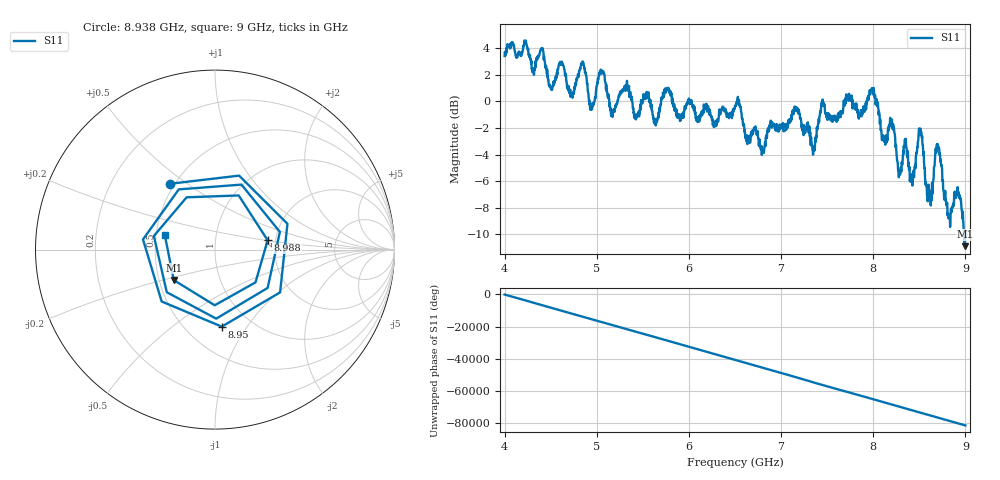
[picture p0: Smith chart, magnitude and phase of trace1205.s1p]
! Created with skrf 1.8.0 (http://scikit-rf.org).
# Hz S RI R 50.0
!freq ReS11 ImS11
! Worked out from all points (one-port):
!   1601 points, 4 GHz to 9 GHz, reference 50 ohm
!   lowest |S11| = -10.9 dB at 8.997 GHz (marker M1), VSWR 1.80, Z = 29.8 - j11 ohm
!   |S11| at or under -10 dB: 8.985617 GHz to end of sweep
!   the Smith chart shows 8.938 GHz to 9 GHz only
!   S11 on the Smith chart (normalised r, x): 8.938 GHz: 0.47, +0.43; 8.95 GHz: 0.73, -0.77; 8.988 GHz: 1.81, +0.21; 9 GHz: 0.56, +0.10
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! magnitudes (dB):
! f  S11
! 4 GHz  3.4
! 4.625 GHz  2.9
! 4.725 GHz  0.5
! 4.853 GHz  2.9
! 4.944 GHz  -0.4
! 5.05 GHz  2.3
! 5.162 GHz  -1.1
! 5.25 GHz  0.6
! 5.875 GHz  -0.9
! 6.5 GHz  -0.3
! 6.797 GHz  -3.9
! 7.125 GHz  -0.9
! 7.347 GHz  -4.0
! 7.447 GHz  -0.3
! 7.75 GHz  0.2
! 7.997 GHz  1.0
! 8.281 GHz  -5.2
! 8.375 GHz  -3.7
! 8.422 GHz  -5.5
! 8.512 GHz  -2.0
! 8.609 GHz  -6.8
! 8.7 GHz  -3.2
! 8.812 GHz  -8.5
! 8.938 GHz  -7.1
! 8.95 GHz  -7.3
! 8.988 GHz  -10.5
! 8.997 GHz  -10.9
! 9 GHz  -10.7
